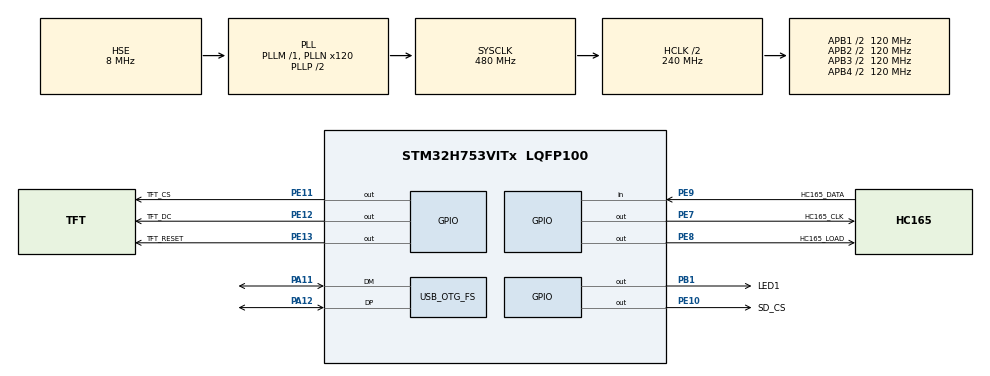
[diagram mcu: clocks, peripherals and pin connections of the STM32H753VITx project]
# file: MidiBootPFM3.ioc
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IWDG1.Prescaler=IWDG_PRESCALER_128
IWDG1.Reload=8*32000/128
IWDG1.Window=8*32000/128
Mcu.Family=STM32H7
Mcu.Name=STM32H753VITx
Mcu.Package=LQFP100
NVIC.OTG_FS_IRQn=true\:0\:0\:false\:false\:true\:false\:true
NVIC.PriorityGroup=NVIC_PRIORITYGROUP_4
PA11.Mode=Device_Only
PA11.Signal=USB_OTG_FS_DM
PA12.Mode=Device_Only
PA12.Signal=USB_OTG_FS_DP
PA13\ (JTMS/SWDIO).Mode=JTAG_5_pins
PA13\ (JTMS/SWDIO).Signal=DEBUG_JTMS-SWDIO
PA14\ (JTCK/SWCLK).Mode=JTAG_5_pins
PA14\ (JTCK/SWCLK).Signal=DEBUG_JTCK-SWCLK
PA15\ (JTDI).Mode=JTAG_5_pins
PA15\ (JTDI).Signal=DEBUG_JTDI
PB1.GPIO_Label=LED1
PB1.Signal=GPIO_Output
PB3\ (JTDO/TRACESWO).Mode=JTAG_5_pins
PB3\ (JTDO/TRACESWO).Signal=DEBUG_JTDO-SWO
PB4\ (NJTRST).Mode=JTAG_5_pins
PB4\ (NJTRST).Signal=DEBUG_JTRST
PE10.GPIO_Label=SD_CS
PE10.GPIO_Speed=GPIO_SPEED_FREQ_VERY_HIGH
PE10.Signal=GPIO_Output
PE11.GPIO_Label=TFT_CS
PE11.Signal=GPIO_Output
PE12.GPIO_Label=TFT_DC
PE12.Signal=GPIO_Output
PE13.GPIO_Label=TFT_RESET
PE13.GPIO_Speed=GPIO_SPEED_FREQ_VERY_HIGH
PE13.Signal=GPIO_Output
PE7.GPIO_Label=HC165_CLK
PE7.GPIO_Speed=GPIO_SPEED_FREQ_VERY_HIGH
PE7.Signal=GPIO_Output
PE8.GPIO_Label=HC165_LOAD
PE8.GPIO_Speed=GPIO_SPEED_FREQ_VERY_HIGH
PE8.Signal=GPIO_Output
PE9.GPIO_Label=HC165_DATA
PE9.Signal=GPIO_Input
PH0-OSC_IN\ (PH0).Mode=HSE-External-Oscillator
PH0-OSC_IN\ (PH0).Signal=RCC_OSC_IN
PH1-OSC_OUT\ (PH1).Mode=HSE-External-Oscillator
PH1-OSC_OUT\ (PH1).Signal=RCC_OSC_OUT
ProjectManager.HeapSize=0x200
ProjectManager.StackSize=0x400
ProjectManager.TargetToolchain=Makefile
RCC.ADCFreq_Value=80000000
RCC.APB1Freq_Value=120000000
RCC.APB2Freq_Value=120000000
RCC.APB3Freq_Value=120000000
RCC.APB4Freq_Value=120000000
RCC.CortexFreq_Value=480000000
RCC.D1PPRE=RCC_APB3_DIV2
RCC.D2PPRE1=RCC_APB1_DIV2
RCC.D2PPRE2=RCC_APB2_DIV2
RCC.D3PPRE=RCC_APB4_DIV2
RCC.DIVM1=1
RCC.DIVM2=1
RCC.DIVM3=1
RCC.DIVN1=120
RCC.DIVN2=40
RCC.DIVN3=46
RCC.DIVP2=4
RCC.DIVP3=3
RCC.HCLKFreq_Value=240000000
RCC.HPRE=RCC_HCLK_DIV2
RCC.HSE_VALUE=8000000
RCC.PLLSourceVirtual=RCC_PLLSOURCE_HSE
RCC.SPI123CLockSelection=RCC_SPI123CLKSOURCE_PLL2
RCC.SYSCLKFreq_VALUE=480000000
RCC.SYSCLKSource=RCC_SYSCLKSOURCE_PLLCLK
RCC.USBCLockSelection=RCC_USBCLKSOURCE_HSI48
RCC.USBFreq_Value=48000000
USB_DEVICE.CLASS_NAME_FS=AUDIO
USB_DEVICE.MANUFACTURER_STRING-AUDIO_FS=Rebel Technology
USB_DEVICE.PID_AUDIO_FS=0xDADA
USB_DEVICE.PRODUCT_STRING_AUDIO_FS=OWL-BOOT
USB_DEVICE.VID-AUDIO_FS=0x1209
USB_DEVICE.VirtualMode-AUDIO_FS=Audio
USB_DEVICE.VirtualModeFS=Audio_FS
USB_OTG_FS.VirtualMode=Device_Only
VP_IWDG1_VS_IWDG.Mode=IWDG_Activate
VP_USB_DEVICE_VS_USB_DEVICE_AUDIO_FS.Mode=AUDIO_FS
board=custom

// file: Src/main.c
/* USER CODE BEGIN Header */
/**
  ******************************************************************************
  * @file           : main.c
  * @brief          : Main program body
  ******************************************************************************
  * @attention
  *
  * <h2><center>&copy; Copyright (c) 2020 STMicroelectronics.
  * All rights reserved.</center></h2>
  *
  * This software component is licensed by ST under Ultimate Liberty license
  * SLA0044, the "License"; You may not use this file except in compliance with
  * the License. You may obtain a copy of the License at:
  *                             www.st.com/SLA0044
  *
  ******************************************************************************
  */
/* USER CODE END Header */
#include "main.h"
#include "usb_device.h"

/* USER CODE BEGIN Includes */
#include "device.h"
#include "errorhandlers.h"
/* USER CODE END Includes */

IWDG_HandleTypeDef hiwdg1;

/* USER CODE BEGIN PV */
/* Private variables ---------------------------------------------------------*/

/* USER CODE END PV */

void SystemClock_Config(void);
static void MX_GPIO_Init(void);
static void MX_IWDG1_Init(void);
/* USER CODE BEGIN PFP */
/* Private function prototypes -----------------------------------------------*/

void setup();
void loop(void);
void setMessage(const char* msg);

typedef  void (*pFunction)(void);

static int testMagic(){
  return *OWLBOOT_MAGIC_ADDRESS == OWLBOOT_MAGIC_NUMBER;
}

static int testLoop(){
  // Prevent reset cycles.
  // Check if we've been reset without zeroing the magic address,
  // which might indicate a corrupt firmware.
  return *OWLBOOT_MAGIC_ADDRESS == OWLBOOT_LOOP_NUMBER;
}

int testButton(){
#ifdef USE_BOOT1_PIN
  return !(BOOT1_GPIO_Port->IDR & BOOT1_Pin);
#else
  return 0;
#endif
}

static int testNoProgram(){
  return ((*(__IO uint32_t*)(APPLICATION_ADDRESS + 4)) & 0xFFF00000 ) != 0x08000000;
  /* Check Vector Table: Test if valid Reset_Handler pointer is programmed after APPLICATION_ADDRESS */
}

static int testWatchdogReset(){
  return __HAL_RCC_GET_FLAG(RCC_FLAG_IWDG1RST) != RESET;
}

/* USER CODE END PFP */

int main(void)
{

  /* MCU Configuration--------------------------------------------------------*/

  /* Reset of all peripherals, Initializes the Flash interface and the Systick. */
  HAL_Init();

  /* Configure the system clock */
  SystemClock_Config();

  /* USER CODE BEGIN SysInit */

  MX_GPIO_Init();
  MX_IWDG1_Init();

  if(testMagic()){
    setMessage("Bootloader starting");
  }else if(testButton()){
    setMessage("Bootloader requested");
  }else if(testLoop()){
    error(RUNTIME_ERROR, "Unexpected firmware reset");
  }else if(testWatchdogReset()){
    error(RUNTIME_ERROR, "Watchdog reset");
  }else if(testNoProgram()){
    error(RUNTIME_ERROR, "No valid firmware");
  }else{
    // jump to application code

      /* Disable all interrupts */
      __disable_irq();

      RCC->CIER = 0x00000000;

      /* Disable and reset SysTick */
      SysTick->CTRL = 0;
      SysTick->LOAD = 0;
      SysTick->VAL = 0;

      /* Clear Interrupt Enable Register & Interrupt Pending Register */
      for (int i = 0;i < 5; i++) {
        NVIC->ICER[i]=0xFFFFFFFF;
        NVIC->ICPR[i]=0xFFFFFFFF;
      }

    /* put marker in to prevent reset cycles */
    *OWLBOOT_MAGIC_ADDRESS = OWLBOOT_LOOP_NUMBER;

    /* Jump to user application */
    uint32_t JumpAddress = *(__IO uint32_t*) (APPLICATION_ADDRESS + 4);
    pFunction jumpToApplication = (pFunction) JumpAddress;
    /* Initialize user application's Stack Pointer */
    __set_MSP(*(__IO uint32_t*) APPLICATION_ADDRESS);
    jumpToApplication();
    for(;;);
  }
  /* Clear reset flags */
  __HAL_RCC_CLEAR_RESET_FLAGS();

  /* Clear magic */
  *OWLBOOT_MAGIC_ADDRESS = 0;

  /* USER CODE END SysInit */

  /* Initialize all configured peripherals */
  MX_GPIO_Init();
  MX_IWDG1_Init();
  MX_USB_DEVICE_Init();
  /* USER CODE BEGIN 2 */

  // Initialise
  setup();

  /* USER CODE END 2 */

  /* Infinite loop */
  /* USER CODE BEGIN WHILE */
  while (1)
  {
    loop();
#ifdef USE_IWDG
    IWDG1->KR = 0xaaaa; // reset the watchdog timer
#endif
    /* USER CODE END WHILE */

  }
}

void SystemClock_Config(void)
{
  RCC_OscInitTypeDef RCC_OscInitStruct = {0};
  RCC_ClkInitTypeDef RCC_ClkInitStruct = {0};

  /** Supply configuration update enable
  */
  HAL_PWREx_ConfigSupply(PWR_LDO_SUPPLY);
  /** Configure the main internal regulator output voltage
  */
  __HAL_PWR_VOLTAGESCALING_CONFIG(PWR_REGULATOR_VOLTAGE_SCALE0);

  while(!__HAL_PWR_GET_FLAG(PWR_FLAG_VOSRDY)) {}
  /** Initializes the RCC Oscillators according to the specified parameters
  * in the RCC_OscInitTypeDef structure.
  */
  RCC_OscInitStruct.OscillatorType = RCC_OSCILLATORTYPE_HSI48|RCC_OSCILLATORTYPE_LSI
                              |RCC_OSCILLATORTYPE_HSE;
  RCC_OscInitStruct.HSEState = RCC_HSE_ON;
  RCC_OscInitStruct.LSIState = RCC_LSI_ON;
  RCC_OscInitStruct.HSI48State = RCC_HSI48_ON;
  RCC_OscInitStruct.PLL.PLLState = RCC_PLL_ON;
  RCC_OscInitStruct.PLL.PLLSource = RCC_PLLSOURCE_HSE;
  RCC_OscInitStruct.PLL.PLLM = 1;
  RCC_OscInitStruct.PLL.PLLN = 120;
  RCC_OscInitStruct.PLL.PLLP = 2;
  RCC_OscInitStruct.PLL.PLLQ = 2;
  RCC_OscInitStruct.PLL.PLLR = 2;
  RCC_OscInitStruct.PLL.PLLRGE = RCC_PLL1VCIRANGE_3;
  RCC_OscInitStruct.PLL.PLLVCOSEL = RCC_PLL1VCOWIDE;
  RCC_OscInitStruct.PLL.PLLFRACN = 0;
  if (HAL_RCC_OscConfig(&RCC_OscInitStruct) != HAL_OK)
  {
    Error_Handler();
  }
  /** Initializes the CPU, AHB and APB buses clocks
  */
  RCC_ClkInitStruct.ClockType = RCC_CLOCKTYPE_HCLK|RCC_CLOCKTYPE_SYSCLK
                              |RCC_CLOCKTYPE_PCLK1|RCC_CLOCKTYPE_PCLK2
                              |RCC_CLOCKTYPE_D3PCLK1|RCC_CLOCKTYPE_D1PCLK1;
  RCC_ClkInitStruct.SYSCLKSource = RCC_SYSCLKSOURCE_PLLCLK;
  RCC_ClkInitStruct.SYSCLKDivider = RCC_SYSCLK_DIV1;
  RCC_ClkInitStruct.AHBCLKDivider = RCC_HCLK_DIV2;
  RCC_ClkInitStruct.APB3CLKDivider = RCC_APB3_DIV2;
  RCC_ClkInitStruct.APB1CLKDivider = RCC_APB1_DIV2;
  RCC_ClkInitStruct.APB2CLKDivider = RCC_APB2_DIV2;
  RCC_ClkInitStruct.APB4CLKDivider = RCC_APB4_DIV2;

  if (HAL_RCC_ClockConfig(&RCC_ClkInitStruct, FLASH_LATENCY_4) != HAL_OK)
  {
    Error_Handler();
  }
}

static void MX_IWDG1_Init(void)
{

  hiwdg1.Instance = IWDG1;
  hiwdg1.Init.Prescaler = IWDG_PRESCALER_128;
  hiwdg1.Init.Window = 8*32000/128;
  hiwdg1.Init.Reload = 8*32000/128;
  if (HAL_IWDG_Init(&hiwdg1) != HAL_OK)
  {
    Error_Handler();
  }

}

static void MX_GPIO_Init(void)
{
  GPIO_InitTypeDef GPIO_InitStruct = {0};

  /* GPIO Ports Clock Enable */
  __HAL_RCC_GPIOH_CLK_ENABLE();
  __HAL_RCC_GPIOB_CLK_ENABLE();
  __HAL_RCC_GPIOE_CLK_ENABLE();
  __HAL_RCC_GPIOA_CLK_ENABLE();

  /*Configure GPIO pin Output Level */
  HAL_GPIO_WritePin(LED1_GPIO_Port, LED1_Pin, GPIO_PIN_RESET);

  /*Configure GPIO pin Output Level */
  HAL_GPIO_WritePin(GPIOE, HC165_CLK_Pin|HC165_LOAD_Pin|SD_CS_Pin|TFT_CS_Pin
                          |TFT_DC_Pin|TFT_RESET_Pin, GPIO_PIN_RESET);

  /*Configure GPIO pin : LED1_Pin */
  GPIO_InitStruct.Pin = LED1_Pin;
  GPIO_InitStruct.Mode = GPIO_MODE_OUTPUT_PP;
  GPIO_InitStruct.Pull = GPIO_NOPULL;
  GPIO_InitStruct.Speed = GPIO_SPEED_FREQ_LOW;
  HAL_GPIO_Init(LED1_GPIO_Port, &GPIO_InitStruct);

  /*Configure GPIO pins : HC165_CLK_Pin HC165_LOAD_Pin SD_CS_Pin TFT_RESET_Pin */
  GPIO_InitStruct.Pin = HC165_CLK_Pin|HC165_LOAD_Pin|SD_CS_Pin|TFT_RESET_Pin;
  GPIO_InitStruct.Mode = GPIO_MODE_OUTPUT_PP;
  GPIO_InitStruct.Pull = GPIO_NOPULL;
  GPIO_InitStruct.Speed = GPIO_SPEED_FREQ_VERY_HIGH;
  HAL_GPIO_Init(GPIOE, &GPIO_InitStruct);

  /*Configure GPIO pin : HC165_DATA_Pin */
  GPIO_InitStruct.Pin = HC165_DATA_Pin;
  GPIO_InitStruct.Mode = GPIO_MODE_INPUT;
  GPIO_InitStruct.Pull = GPIO_NOPULL;
  HAL_GPIO_Init(HC165_DATA_GPIO_Port, &GPIO_InitStruct);

  /*Configure GPIO pins : TFT_CS_Pin TFT_DC_Pin */
  GPIO_InitStruct.Pin = TFT_CS_Pin|TFT_DC_Pin;
  GPIO_InitStruct.Mode = GPIO_MODE_OUTPUT_PP;
  GPIO_InitStruct.Pull = GPIO_NOPULL;
  GPIO_InitStruct.Speed = GPIO_SPEED_FREQ_LOW;
  HAL_GPIO_Init(GPIOE, &GPIO_InitStruct);

}

void Error_Handler(void)
{
  /* USER CODE BEGIN Error_Handler_Debug */
#ifdef DEBUG
  __asm__("BKPT");
#else
  NVIC_SystemReset();
#endif
  /* USER CODE END Error_Handler_Debug */
}

#ifdef  USE_FULL_ASSERT
/**
  * @brief  Reports the name of the source file and the source line number
  *         where the assert_param error has occurred.
  * @param  file: pointer to the source file name
  * @param  line: assert_param error line source number
  * @retval None
  */
void assert_failed(uint8_t *file, uint32_t line)
{
  /* USER CODE BEGIN 6 */
#ifdef DEBUG
  __asm__("BKPT");
#else
  NVIC_SystemReset();
#endif
  /* USER CODE END 6 */
}
#endif /* USE_FULL_ASSERT */

/************************ (C) COPYRIGHT STMicroelectronics *****END OF FILE****/
